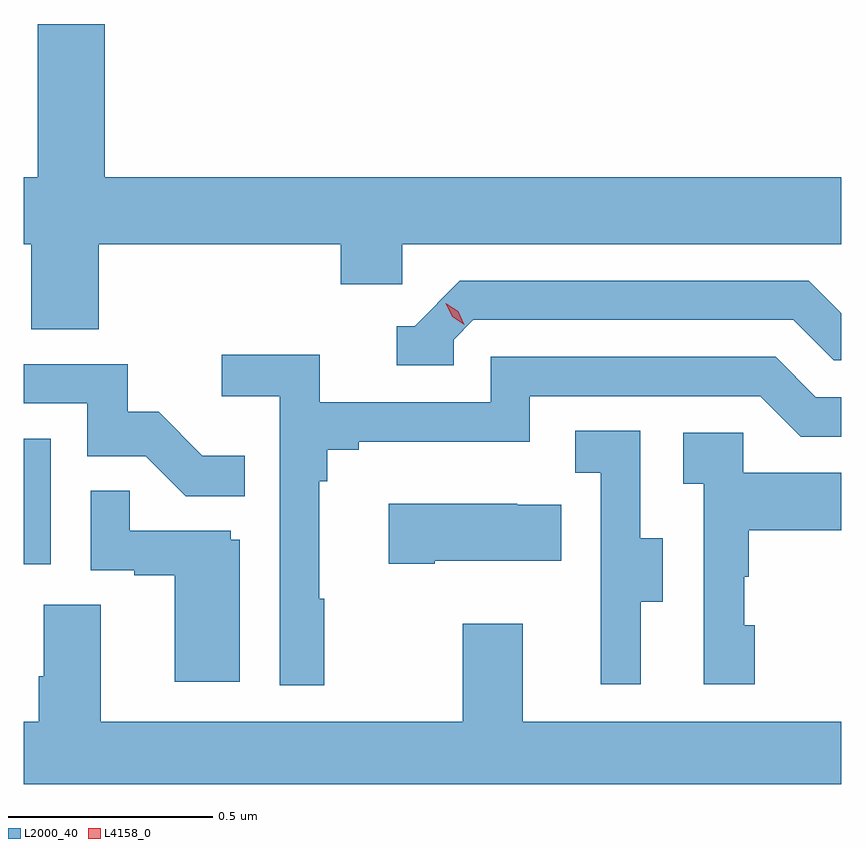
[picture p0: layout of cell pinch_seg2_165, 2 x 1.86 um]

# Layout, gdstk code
import gdstk
lib = gdstk.Library(unit=1e-6, precision=1e-09)
def R(c, l, rs):  # rectangles x0, y0, x1, y1
    for r in rs: c.add(gdstk.rectangle(r[:2], r[2:], *l))
def P(c, l, *ps):  # polygons
    for p in ps: c.add(gdstk.Polygon(p, *l))
L2000_40 = (2000, 40)
L4158_0 = (4158, 0)

pinch_seg2_165 = lib.new_cell('pinch_seg2_165')
R(pinch_seg2_165, L2000_40, [(1141.996,628.206,1142.062,628.513)])
P(pinch_seg2_165, L2000_40, [(1142.18,628.988),(1142.771,628.988),(1142.771,628.89),(1142.922,628.89),(1142.922,628.988),(1143.996,628.988),(1143.996,629.152),(1142.194,629.152),(1142.194,629.527),(1142.03,629.527),(1142.03,629.152),(1141.996,629.152),(1141.996,628.988),(1142.015,628.988),(1142.015,628.78),(1142.18,628.78)],
  [(1143.048,628.755),(1143.096,628.803),(1143.879,628.803),(1143.978,628.704),(1143.996,628.704),(1143.996,628.819),(1143.916,628.899),(1143.063,628.899),(1142.952,628.788),(1142.909,628.788),(1142.909,628.692),(1143.048,628.692)],
  [(1142.731,628.121),(1142.719,628.121),(1142.719,628.409),(1142.738,628.409),(1142.738,628.486),(1142.815,628.486),(1142.815,628.505),(1143.234,628.505),(1143.234,628.617),(1143.798,628.617),(1143.897,628.518),(1143.996,628.518),(1143.996,628.614),(1143.934,628.614),(1143.835,628.713),(1143.138,628.713),(1143.138,628.602),(1142.72,628.602),(1142.72,628.718),(1142.481,628.718),(1142.481,628.616),(1142.622,628.616),(1142.622,627.909),(1142.731,627.909)],
  [(1142.537,628.471),(1142.433,628.471),(1142.326,628.578),(1142.25,628.578),(1142.25,628.695),(1141.996,628.695),(1141.996,628.599),(1142.151,628.599),(1142.151,628.47),(1142.295,628.47),(1142.393,628.372),(1142.537,628.372)],
  [(1143.505,628.114),(1143.559,628.114),(1143.559,628.269),(1143.504,628.269),(1143.504,628.532),(1143.345,628.532),(1143.345,628.429),(1143.408,628.429),(1143.408,628.125),(1143.407,628.125),(1143.407,627.912),(1143.505,627.912)],
  [(1143.784,628.056),(1143.759,628.056),(1143.759,628.175),(1143.769,628.175),(1143.769,628.289),(1143.996,628.289),(1143.996,628.429),(1143.756,628.429),(1143.756,628.527),(1143.609,628.527),(1143.609,628.403),(1143.66,628.403),(1143.66,627.912),(1143.784,627.912)],
  [(1142.524,628.266),(1142.502,628.266),(1142.502,628.287),(1142.255,628.287),(1142.255,628.385),(1142.16,628.385),(1142.16,628.191),(1142.267,628.191),(1142.267,628.179),(1142.366,628.179),(1142.366,627.918),(1142.524,627.918)],
  [(1143.001,628.214),(1143.311,628.214),(1143.311,628.351),(1143.203,628.351),(1143.203,628.354),(1142.889,628.354),(1142.889,628.207),(1143.001,628.207)],
  [(1143.996,627.82),(1143.217,627.82),(1143.217,628.06),(1143.07,628.06),(1143.07,627.82),(1142.185,627.82),(1142.185,628.106),(1142.045,628.106),(1142.045,627.932),(1142.033,627.932),(1142.033,627.82),(1141.996,627.82),(1141.996,627.668),(1143.996,627.668)])
P(pinch_seg2_165, L4158_0, [(1143.074,628.791),(1143.044,628.811),(1143.028,628.843),(1143.028,628.844),(1143.028,628.844),(1143.059,628.824),(1143.074,628.791),(1143.074,628.791)])

lib.write_gds('pinch_seg2_165.gds')
